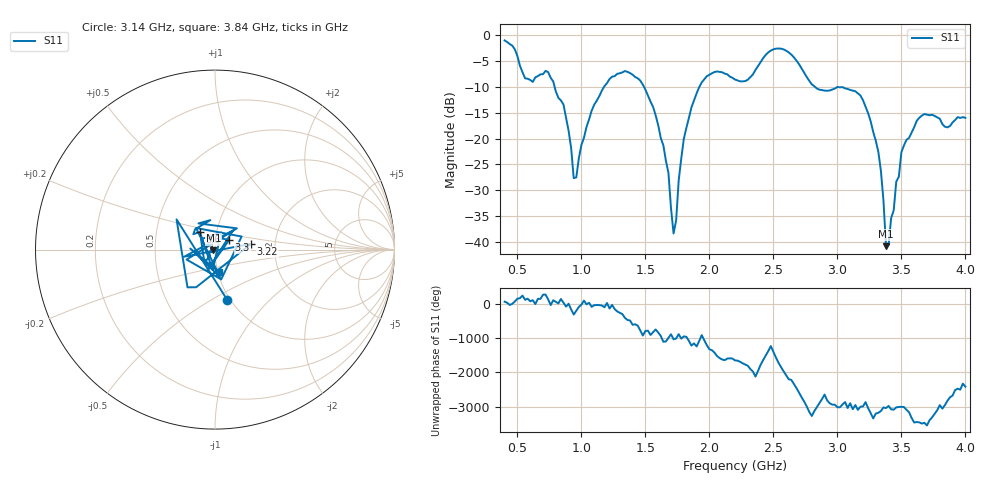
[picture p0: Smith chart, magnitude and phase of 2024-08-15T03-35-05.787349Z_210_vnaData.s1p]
!Created with skrf (http://scikit-rf.org).
# Hz S RI R 50.0
!freq ReS11 ImS11
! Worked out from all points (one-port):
!   181 points, 400 MHz to 4 GHz, reference 50 ohm
!   lowest |S11| = -40.8 dB at 3.38 GHz (marker M1), VSWR 1.02, Z = 49.1 - j0.218 ohm
!   |S11| at or under -10 dB: 790.6 MHz to 1.177 GHz (386.8 MHz wide, 39.3 % of centre); 1.488 GHz to 1.922 GHz (433.6 MHz wide, 25.4 % of centre); 2.824 GHz to end of sweep
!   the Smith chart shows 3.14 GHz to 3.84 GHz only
!   S11 on the Smith chart (normalised r, x): 3.14 GHz: 0.97, -0.59; 3.22 GHz: 1.50, +0.10; 3.3 GHz: 1.16, +0.13; 3.6 GHz: 0.83, +0.16; 3.84 GHz: 1.02, -0.26
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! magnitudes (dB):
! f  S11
! 400 MHz  -1.1
! 560 MHz  -8.4
! 740 MHz  -7.2
! 860 MHz  -13.4
! 960 MHz  -27.5
! 1.08 GHz  -14.6
! 1.3 GHz  -7.4
! 1.56 GHz  -13.9
! 1.68 GHz  -26.6
! 1.72 GHz  -38.3
! 1.76 GHz  -28.1
! 1.82 GHz  -18.0
! 1.94 GHz  -9.2
! 2.2 GHz  -8.6
! 2.5 GHz  -2.8
! 2.66 GHz  -4.3
! 2.84 GHz  -10.3
! 3.1 GHz  -10.6
! 3.14 GHz  -10.9
! 3.22 GHz  -13.8
! 3.3 GHz  -20.4
! 3.34 GHz  -26.3
! 3.38 GHz  -40.8
! 3.5 GHz  -22.7
! 3.56 GHz  -19.9
! 3.6 GHz  -17.8
! 3.84 GHz  -17.7
! 4 GHz  -16.0
